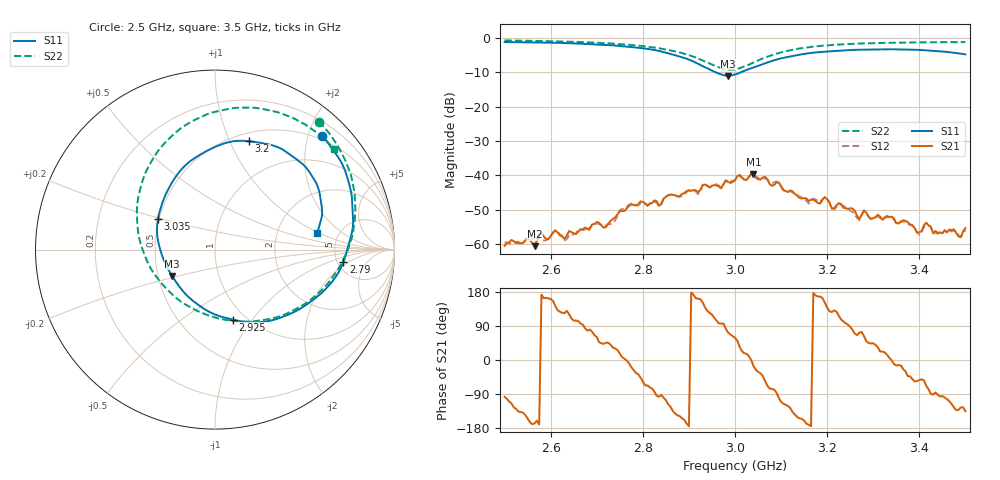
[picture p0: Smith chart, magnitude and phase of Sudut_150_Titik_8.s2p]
# Hz S RI R 50
! CMT, C1220, 16058040, 17.2.0/1
! Date: 15/08/2018 09:55:57
! Data: Format (Calibration Info)
! Freq  S11: Re/Im (F2)  S21: Re/Im (F2)  S12: Re/Im (F2)  S22: Re/Im (F2)
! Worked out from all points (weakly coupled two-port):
!   201 points, 2.5 GHz to 3.5 GHz, reference 50 ohm
!   highest |S21| = -39.59 dB at 3.04 GHz (marker M1); lowest = -60.6 dB at 2.565 GHz (marker M2)
!   lowest |S11| = -11.0 dB at 2.985 GHz (marker M3), VSWR 1.78, Z = 29.6 - j9.42 ohm
!   |S11| at or under -10 dB: 2.958 GHz to 3.013 GHz (55.24 MHz wide, 1.85 % of centre)
!   |S22| runs from -9.2 to -0.7 dB; largest |S21 - S12| = 0.00084
!   S11 on the Smith chart (normalised r, x): 2.5 GHz: 0.43, +2.25; 2.79 GHz: 5.61, -1.63; 2.925 GHz: 0.87, -0.81; 3.035 GHz: 0.49, +0.19; 3.2 GHz: 0.59, +1.18; 3.5 GHz: 3.42, +0.97
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2.5e9  0.597 0.6335  -0.00012 -0.000931  -0.00016 -0.00104  0.5775 0.7135
2.565e9  0.6693 0.5389  -0.000907 -0.00021  -0.00106 -3.26e-05  0.6487 0.6304
2.575e9  0.682 0.5217  -0.00138 -0.000242  -0.0012 -3.25e-05  0.66 0.6147
2.67e9  0.7593 0.3157  -8.02e-05 0.00163  -2.01e-05 0.00159  0.7485 0.4397
2.72e9  0.7693 0.1749  0.00123 0.00126  0.00137 0.00128  0.7776 0.314
2.79e9  0.7149 -0.0704  0.003 -0.0023  0.00275 -0.00234  0.7683 0.0914
2.835e9  0.6023 -0.2338  -0.000457 -0.00358  -0.000332 -0.00351  0.7022 -0.0806
2.925e9  0.0994 -0.39  -0.00584 0.00209  -0.00567 0.00169  0.2903 -0.3886
2.985e9  -0.2389 -0.1466  0.00242 0.00761  0.00217 0.00775  -0.1756 -0.2993
3e9  -0.2892 -0.0487  0.00442 0.00725  0.00481 0.00699  -0.2761 -0.2116
3.035e9  -0.3175 0.1705  0.0104 3.35e-05  0.0104 0.000171  -0.4195 0.0527
3.04e9  -0.3116 0.2005  0.0101 -0.00281  0.0103 -0.00255  -0.4279 0.0944
3.105e9  -0.1355 0.4946  -0.00261 -0.00552  -0.00269 -0.00541  -0.3266 0.536
3.17e9  0.0946 0.6023  -0.00447 0.000243  -0.0046 -6.94e-05  -0.0709 0.7421
3.2e9  0.1899 0.6034  -0.00336 0.00299  -0.00331 0.00316  0.041 0.7766
3.27e9  0.3779 0.5568  0.000719 0.0022  0.000663 0.0021  0.2615 0.7843
3.28e9  0.3993 0.5424  0.00141 0.00275  0.00132 0.00265  0.2879 0.779
3.335e9  0.5063 0.4588  0.00246 0.000247  0.00252 0.000144  0.4144 0.7416
3.4e9  0.5761 0.3383  0.000894 -0.00119  0.000729 -0.00116  0.5311 0.6773
3.415e9  0.5849 0.3024  0.000762 -0.0019  0.000749 -0.00178  0.5552 0.6606
3.49e9  0.5775 0.1187  -0.000725 -0.00103  -0.000804 -0.000993  0.6526 0.5713
3.5e9  0.5677 0.0946  -0.00121 -0.0012  -0.00123 -0.00103  0.6633 0.5593
